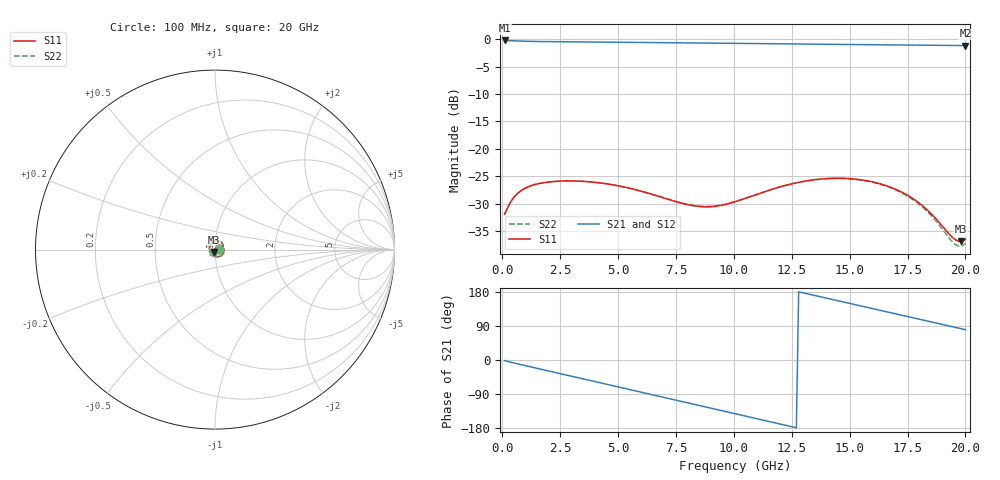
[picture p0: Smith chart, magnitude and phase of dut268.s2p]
! Touchstone file exported from HFSS 2026.1.0
!  File:  C:/ffzhzh/LocalFiles/Ansys_Project_Files/temp_train_TSV_RDL_268_1783070449_17544.aedt
!  Generated:  05:29:46 PM Jul  3, 2026
!  Design:  TSV_RDL
!  Project:  temp_train_TSV_RDL_268_1783070449_17544
! Variables:
!  h_bsmrdl = 5.95um
!  h_ox = 20um
!  h_rdl = 5um
!  h_sub = 66.06um
!  h_tmrdl = 2.21um
!  h_tsv = 66.06um
!  h_via = 3um
!  l_bsmrdl = 159.39um
!  l_sub = 4840.41um
!  l_tmrdl = 948.53um
!  m_sub = 200um
!  pitch = 31.79um
!  r_tsv = 8.1um
!  s_tmrdl = 10um
!  w_bsmrdl = 28.46um
!  w_sub = 500um
!  w_tmrdl = 27.58um
!  x_tsv_center1 = 962.32um
!  x_tsv_center2 = 1150.17um
!  x_tsv_center3 = 2126.28um
!  x_tsv_center4 = 2314.13um
!  x_tsv_center5 = 3290.24um
!  x_tsv_center6 = 3478.09um
# GHz S MA R 50.000000
! Terminal data exported
! Port[1] = TM_RDL1_1_T1
! Port[2] = TM_RDL5_1_T1
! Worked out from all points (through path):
!   200 points, 100 MHz to 20 GHz, reference 50 ohm
!   highest |S21| = -0.22 dB at 100 MHz (marker M1); lowest = -1.2 dB at 20 GHz (marker M2)
!   group delay of S21, straight-line fit = 38.8 ps
!   lowest |S11| = -36.9 dB at 19.8 GHz (marker M3), VSWR 1.03, Z = 49.5 - j1.35 ohm
!   |S11| at or under -10 dB: start of sweep to end of sweep
!   |S22| runs from -37.7 to -25.4 dB; largest |S21 - S12| = 3.4e-14
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0.1  0.02534 9.1  0.9751 -1.7  0.9751 -1.7  0.02534 9.1
! Gamma 0 0 0 0
! Port Impedance 50 0 50 0
0.5  0.03611 15.4  0.9666 -7.8  0.9666 -7.8  0.03611 15.4
1.1  0.04495 6.7  0.9579 -16.3  0.9579 -16.3  0.04495 6.7
2.3  0.05055 -11.7  0.9498 -33.2  0.9498 -33.2  0.05055 -11.7
3.5  0.05057 -29.7  0.9449 -50.0  0.9449 -50.0  0.05059 -29.7
4.4  0.04839 -44.4  0.9417 -62.7  0.9417 -62.7  0.04842 -44.4
5.2  0.04518 -58.8  0.9388 -73.9  0.9388 -73.9  0.04523 -58.8
6  0.0411 -75.2  0.9357 -85.1  0.9357 -85.1  0.04116 -75.2
6.8  0.03662 -94.4  0.9325 -96.4  0.9325 -96.4  0.03672 -94.3
7.7  0.03213 -120.5  0.9286 -109.0  0.9286 -109.0  0.03226 -120.3
8.6  0.02973 -151.6  0.9244 -121.6  0.9244 -121.6  0.02988 -151.3
10.1  0.03318 155.0  0.917 -142.6  0.917 -142.6  0.0333 155.5
11  0.03855 128.4  0.9124 -155.1  0.9124 -155.1  0.03861 129.0
11.8  0.04381 108.4  0.9085 -166.2  0.9085 -166.2  0.04381 109.1
13.4  0.05206 74.7  0.901 171.6  0.901 171.6  0.05193 75.5
15  0.05358 44.9  0.8944 149.4  0.8944 149.4  0.05329 45.9
16.7  0.04527 13.4  0.8882 125.9  0.8882 125.9  0.04476 14.7
18  0.03209 -15.3  0.8837 107.9  0.8837 107.9  0.03131 -13.3
18.6  0.02467 -33.5  0.8815 99.5  0.8815 99.5  0.02368 -31.2
19.5  0.01519 -82.3  0.878 87.0  0.878 87.0  0.01378 -81.6
19.8  0.01434 -107.9  0.8767 82.8  0.8767 82.8  0.01296 -109.6
20  0.01494 -125.5  0.8759 80.0  0.8759 80.0  0.01372 -128.5
